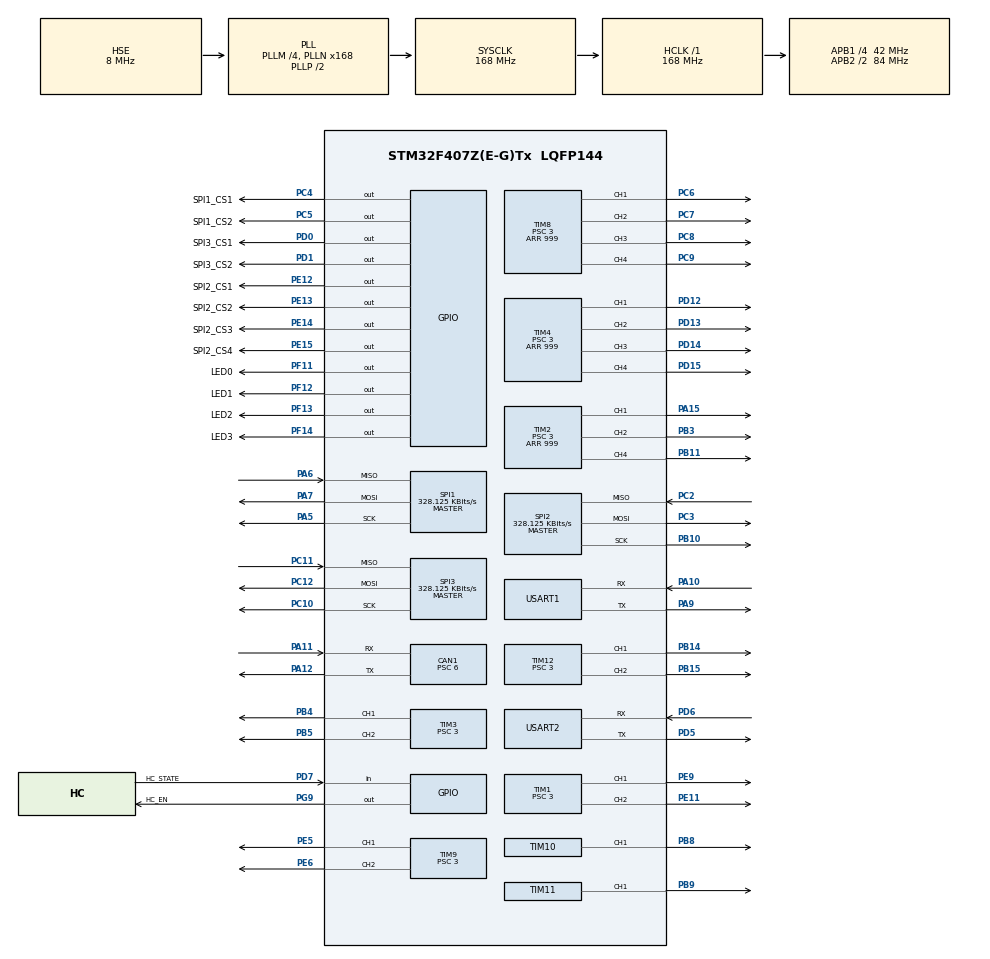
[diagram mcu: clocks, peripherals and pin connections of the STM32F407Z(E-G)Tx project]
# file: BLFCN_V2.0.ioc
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CAN1.BS1=CAN_BS1_5TQ
CAN1.BS2=CAN_BS2_1TQ
CAN1.CalculateBaudRate=1000000
CAN1.CalculateTimeBit=1000
CAN1.CalculateTimeQuantum=142.85714285714286
CAN1.Prescaler=6
Dma.Request0=USART1_RX
Dma.Request1=USART1_TX
Dma.Request2=USART2_RX
Dma.Request3=USART2_TX
Dma.USART1_RX.0.Direction=DMA_PERIPH_TO_MEMORY
Dma.USART1_RX.0.FIFOMode=DMA_FIFOMODE_DISABLE
Dma.USART1_RX.0.Instance=DMA2_Stream2
Dma.USART1_RX.0.MemDataAlignment=DMA_MDATAALIGN_BYTE
Dma.USART1_RX.0.MemInc=DMA_MINC_ENABLE
Dma.USART1_RX.0.Mode=DMA_NORMAL
Dma.USART1_RX.0.PeriphDataAlignment=DMA_PDATAALIGN_BYTE
Dma.USART1_RX.0.PeriphInc=DMA_PINC_DISABLE
Dma.USART1_RX.0.Priority=DMA_PRIORITY_LOW
Dma.USART1_TX.1.Direction=DMA_MEMORY_TO_PERIPH
Dma.USART1_TX.1.FIFOMode=DMA_FIFOMODE_DISABLE
Dma.USART1_TX.1.Instance=DMA2_Stream7
Dma.USART1_TX.1.MemDataAlignment=DMA_MDATAALIGN_BYTE
Dma.USART1_TX.1.MemInc=DMA_MINC_ENABLE
Dma.USART1_TX.1.Mode=DMA_NORMAL
Dma.USART1_TX.1.PeriphDataAlignment=DMA_PDATAALIGN_BYTE
Dma.USART1_TX.1.PeriphInc=DMA_PINC_DISABLE
Dma.USART1_TX.1.Priority=DMA_PRIORITY_LOW
Dma.USART2_RX.2.Direction=DMA_PERIPH_TO_MEMORY
Dma.USART2_RX.2.FIFOMode=DMA_FIFOMODE_DISABLE
Dma.USART2_RX.2.Instance=DMA1_Stream5
Dma.USART2_RX.2.MemDataAlignment=DMA_MDATAALIGN_BYTE
Dma.USART2_RX.2.MemInc=DMA_MINC_ENABLE
Dma.USART2_RX.2.Mode=DMA_CIRCULAR
Dma.USART2_RX.2.PeriphDataAlignment=DMA_PDATAALIGN_BYTE
Dma.USART2_RX.2.PeriphInc=DMA_PINC_DISABLE
Dma.USART2_RX.2.Priority=DMA_PRIORITY_LOW
Dma.USART2_TX.3.Direction=DMA_MEMORY_TO_PERIPH
Dma.USART2_TX.3.FIFOMode=DMA_FIFOMODE_DISABLE
Dma.USART2_TX.3.Instance=DMA1_Stream6
Dma.USART2_TX.3.MemDataAlignment=DMA_MDATAALIGN_BYTE
Dma.USART2_TX.3.MemInc=DMA_MINC_ENABLE
Dma.USART2_TX.3.Mode=DMA_CIRCULAR
Dma.USART2_TX.3.PeriphDataAlignment=DMA_PDATAALIGN_BYTE
Dma.USART2_TX.3.PeriphInc=DMA_PINC_DISABLE
Dma.USART2_TX.3.Priority=DMA_PRIORITY_LOW
FREERTOS.Tasks01=defaultTask,24,128,StartDefaultTask,Default,NULL,Dynamic,NULL,NULL;PID,8,128,StartTask_pid,Default,NULL,Dynamic,NULL,NULL;read,8,128,StartTask_read,Default,NULL,Dynamic,NULL,NULL;send,8,128,StartTask_send,Default,NULL,Dynamic,NULL,NULL
Mcu.Family=STM32F4
Mcu.Name=STM32F407Z(E-G)Tx
Mcu.Package=LQFP144
NVIC.CAN1_RX0_IRQn=true\:5\:0\:false\:false\:true\:true\:true\:true\:true
NVIC.CAN1_RX1_IRQn=true\:5\:0\:false\:false\:true\:true\:true\:true\:true
NVIC.CAN1_TX_IRQn=true\:5\:0\:false\:false\:true\:true\:true\:true\:true
NVIC.DMA1_Stream5_IRQn=true\:5\:0\:false\:false\:true\:true\:false\:true\:true
NVIC.DMA1_Stream6_IRQn=true\:5\:0\:false\:false\:true\:true\:false\:true\:true
NVIC.DMA2_Stream2_IRQn=true\:5\:0\:false\:false\:true\:true\:false\:true\:true
NVIC.DMA2_Stream7_IRQn=true\:5\:0\:false\:false\:true\:true\:false\:true\:true
NVIC.PriorityGroup=NVIC_PRIORITYGROUP_4
NVIC.TIM7_IRQn=true\:15\:0\:false\:false\:true\:false\:false\:true\:true
NVIC.TimeBase=TIM7_IRQn
NVIC.TimeBaseIP=TIM7
NVIC.USART1_IRQn=true\:5\:0\:true\:false\:true\:true\:true\:true\:true
NVIC.USART2_IRQn=true\:5\:0\:true\:false\:true\:true\:true\:true\:true
PA10.Mode=Asynchronous
PA10.Signal=USART1_RX
PA11.Mode=CAN_Activate
PA11.Signal=CAN1_RX
PA12.Mode=CAN_Activate
PA12.Signal=CAN1_TX
PA13.Mode=Serial_Wire
PA13.Signal=SYS_JTMS-SWDIO
PA14.Mode=Serial_Wire
PA14.Signal=SYS_JTCK-SWCLK
PA15.Signal=S_TIM2_CH1_ETR
PA5.Mode=Full_Duplex_Master
PA5.Signal=SPI1_SCK
PA6.Mode=Full_Duplex_Master
PA6.Signal=SPI1_MISO
PA7.Mode=Full_Duplex_Master
PA7.Signal=SPI1_MOSI
PA9.Mode=Asynchronous
PA9.Signal=USART1_TX
PB10.Mode=Full_Duplex_Master
PB10.Signal=SPI2_SCK
PB11.Signal=S_TIM2_CH4
PB14.Signal=S_TIM12_CH1
PB15.Signal=S_TIM12_CH2
PB3.Signal=S_TIM2_CH2
PB4.Signal=S_TIM3_CH1
PB5.Signal=S_TIM3_CH2
PB8.Signal=S_TIM10_CH1
PB9.Signal=S_TIM11_CH1
PC10.Mode=Full_Duplex_Master
PC10.Signal=SPI3_SCK
PC11.Mode=Full_Duplex_Master
PC11.Signal=SPI3_MISO
PC12.Mode=Full_Duplex_Master
PC12.Signal=SPI3_MOSI
PC2.Mode=Full_Duplex_Master
PC2.Signal=SPI2_MISO
PC3.Mode=Full_Duplex_Master
PC3.Signal=SPI2_MOSI
PC4.GPIO_Label=SPI1_CS1
PC4.Signal=GPIO_Output
PC5.GPIO_Label=SPI1_CS2
PC5.Signal=GPIO_Output
PC6.Signal=S_TIM8_CH1
PC7.Signal=S_TIM8_CH2
PC8.Signal=S_TIM8_CH3
PC9.Signal=S_TIM8_CH4
PD0.GPIO_Label=SPI3_CS1
PD0.Signal=GPIO_Output
PD1.GPIO_Label=SPI3_CS2
PD1.Signal=GPIO_Output
PD12.Signal=S_TIM4_CH1
PD13.Signal=S_TIM4_CH2
PD14.Signal=S_TIM4_CH3
PD15.Signal=S_TIM4_CH4
PD5.Mode=Asynchronous
PD5.Signal=USART2_TX
PD6.Mode=Asynchronous
PD6.Signal=USART2_RX
PD7.GPIO_Label=HC_STATE
PD7.Signal=GPIO_Input
PE11.Signal=S_TIM1_CH2
PE12.GPIO_Label=SPI2_CS1
PE12.Signal=GPIO_Output
PE13.GPIO_Label=SPI2_CS2
PE13.Signal=GPIO_Output
PE14.GPIO_Label=SPI2_CS3
PE14.Signal=GPIO_Output
PE15.GPIO_Label=SPI2_CS4
PE15.Signal=GPIO_Output
PE5.Signal=S_TIM9_CH1
PE6.Signal=S_TIM9_CH2
PE9.Signal=S_TIM1_CH1
PF11.GPIO_Label=LED0
PF11.Signal=GPIO_Output
PF12.GPIO_Label=LED1
PF12.Signal=GPIO_Output
PF13.GPIO_Label=LED2
PF13.Signal=GPIO_Output
PF14.GPIO_Label=LED3
PF14.Signal=GPIO_Output
PG9.GPIO_Label=HC_EN
PG9.Signal=GPIO_Output
PH0-OSC_IN.Mode=HSE-External-Oscillator
PH0-OSC_IN.Signal=RCC_OSC_IN
PH1-OSC_OUT.Mode=HSE-External-Oscillator
PH1-OSC_OUT.Signal=RCC_OSC_OUT
ProjectManager.HeapSize=0x400
ProjectManager.StackSize=0x1000
ProjectManager.TargetToolchain=MDK-ARM V5
RCC.48MHZClocksFreq_Value=84000000
RCC.AHBFreq_Value=168000000
RCC.APB1CLKDivider=RCC_HCLK_DIV4
RCC.APB1Freq_Value=42000000
RCC.APB1TimFreq_Value=84000000
RCC.APB2CLKDivider=RCC_HCLK_DIV2
RCC.APB2Freq_Value=84000000
RCC.APB2TimFreq_Value=168000000
RCC.CortexFreq_Value=168000000
RCC.HCLKFreq_Value=168000000
RCC.HSE_VALUE=8000000
RCC.HSI_VALUE=16000000
RCC.LSE_VALUE=32768
RCC.PLLM=4
RCC.PLLN=168
RCC.PLLSourceVirtual=RCC_PLLSOURCE_HSE
RCC.SYSCLKFreq_VALUE=168000000
RCC.SYSCLKSource=RCC_SYSCLKSOURCE_PLLCLK
RCC.VCOOutputFreq_Value=336000000
SH.S_TIM10_CH1.0=TIM10_CH1,PWM Generation1 CH1
SH.S_TIM11_CH1.0=TIM11_CH1,PWM Generation1 CH1
SH.S_TIM12_CH1.0=TIM12_CH1,PWM Generation1 CH1
SH.S_TIM12_CH2.0=TIM12_CH2,PWM Generation2 CH2
SH.S_TIM1_CH1.0=TIM1_CH1,PWM Generation1 CH1
SH.S_TIM1_CH2.0=TIM1_CH2,PWM Generation2 CH2
SH.S_TIM2_CH1_ETR.0=TIM2_CH1,PWM Generation1 CH1
SH.S_TIM2_CH2.0=TIM2_CH2,PWM Generation2 CH2
SH.S_TIM2_CH4.0=TIM2_CH4,PWM Generation4 CH4
SH.S_TIM3_CH1.0=TIM3_CH1,PWM Generation1 CH1
SH.S_TIM3_CH2.0=TIM3_CH2,PWM Generation2 CH2
SH.S_TIM4_CH1.0=TIM4_CH1,PWM Generation1 CH1
SH.S_TIM4_CH2.0=TIM4_CH2,PWM Generation2 CH2
SH.S_TIM4_CH3.0=TIM4_CH3,PWM Generation3 CH3
SH.S_TIM4_CH4.0=TIM4_CH4,PWM Generation4 CH4
SH.S_TIM8_CH1.0=TIM8_CH1,PWM Generation1 CH1
SH.S_TIM8_CH2.0=TIM8_CH2,PWM Generation2 CH2
SH.S_TIM8_CH3.0=TIM8_CH3,PWM Generation3 CH3
SH.S_TIM8_CH4.0=TIM8_CH4,PWM Generation4 CH4
SH.S_TIM9_CH1.0=TIM9_CH1,PWM Generation1 CH1
SH.S_TIM9_CH2.0=TIM9_CH2,PWM Generation2 CH2
SPI1.BaudRatePrescaler=SPI_BAUDRATEPRESCALER_256
SPI1.CLKPhase=SPI_PHASE_2EDGE
SPI1.CalculateBaudRate=328.125 KBits/s
SPI1.DataSize=SPI_DATASIZE_16BIT
SPI1.Direction=SPI_DIRECTION_2LINES
SPI1.Mode=SPI_MODE_MASTER
SPI1.VirtualType=VM_MASTER
SPI2.BaudRatePrescaler=SPI_BAUDRATEPRESCALER_128
SPI2.CLKPhase=SPI_PHASE_2EDGE
SPI2.CalculateBaudRate=328.125 KBits/s
SPI2.DataSize=SPI_DATASIZE_16BIT
SPI2.Direction=SPI_DIRECTION_2LINES
SPI2.Mode=SPI_MODE_MASTER
SPI2.VirtualType=VM_MASTER
SPI3.BaudRatePrescaler=SPI_BAUDRATEPRESCALER_128
SPI3.CLKPhase=SPI_PHASE_2EDGE
SPI3.CalculateBaudRate=328.125 KBits/s
SPI3.DataSize=SPI_DATASIZE_16BIT
SPI3.Direction=SPI_DIRECTION_2LINES
SPI3.Mode=SPI_MODE_MASTER
SPI3.VirtualType=VM_MASTER
TIM1.Channel-PWM\ Generation1\ CH1=TIM_CHANNEL_1
TIM1.Channel-PWM\ Generation2\ CH2=TIM_CHANNEL_2
TIM1.Period=999
TIM1.Prescaler=3
TIM10.Channel=TIM_CHANNEL_1
TIM10.Period=999
TIM10.Prescaler=3
TIM11.Channel=TIM_CHANNEL_1
TIM11.Period=999
TIM11.Prescaler=3
TIM12.Channel-PWM\ Generation1\ CH1=TIM_CHANNEL_1
TIM12.Channel-PWM\ Generation2\ CH2=TIM_CHANNEL_2
TIM12.Period=999
TIM12.Prescaler=3
TIM2.Channel-PWM\ Generation1\ CH1=TIM_CHANNEL_1
TIM2.Channel-PWM\ Generation2\ CH2=TIM_CHANNEL_2
TIM2.Channel-PWM\ Generation3\ CH3=TIM_CHANNEL_3
TIM2.Channel-PWM\ Generation4\ CH4=TIM_CHANNEL_4
TIM2.Period=999
TIM2.Prescaler=3
TIM3.Channel-PWM\ Generation1\ CH1=TIM_CHANNEL_1
TIM3.Channel-PWM\ Generation2\ CH2=TIM_CHANNEL_2
TIM3.Period=999
TIM3.Prescaler=3
TIM4.Channel-PWM\ Generation1\ CH1=TIM_CHANNEL_1
TIM4.Channel-PWM\ Generation2\ CH2=TIM_CHANNEL_2
TIM4.Channel-PWM\ Generation3\ CH3=TIM_CHANNEL_3
TIM4.Channel-PWM\ Generation4\ CH4=TIM_CHANNEL_4
TIM4.Period=999
TIM4.Prescaler=3
TIM8.Channel-PWM\ Generation1\ CH1=TIM_CHANNEL_1
TIM8.Channel-PWM\ Generation2\ CH2=TIM_CHANNEL_2
TIM8.Channel-PWM\ Generation3\ CH3=TIM_CHANNEL_3
TIM8.Channel-PWM\ Generation4\ CH4=TIM_CHANNEL_4
TIM8.Period=999
TIM8.Prescaler=3
TIM9.Channel-PWM\ Generation1\ CH1=TIM_CHANNEL_1
TIM9.Channel-PWM\ Generation2\ CH2=TIM_CHANNEL_2
TIM9.Period=999
TIM9.Prescaler=3
USART1.VirtualMode=VM_ASYNC
USART2.VirtualMode=VM_ASYNC
VP_FREERTOS_VS_CMSIS_V2.Mode=CMSIS_V2
VP_SYS_VS_tim7.Mode=TIM7
VP_TIM10_VS_ClockSourceINT.Mode=Enable_Timer
VP_TIM11_VS_ClockSourceINT.Mode=Enable_Timer
VP_TIM12_VS_ClockSourceINT.Mode=Internal
VP_TIM1_VS_ClockSourceINT.Mode=Internal
VP_TIM2_VS_ClockSourceINT.Mode=Internal
VP_TIM3_VS_ClockSourceINT.Mode=Internal
VP_TIM4_VS_ClockSourceINT.Mode=Internal
VP_TIM8_VS_ClockSourceINT.Mode=Internal
VP_TIM9_VS_ClockSourceINT.Mode=Internal
board=custom

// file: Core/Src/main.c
/* USER CODE BEGIN Header */
/**
  ******************************************************************************
  * @file           : main.c
  * @brief          : Main program body
  ******************************************************************************
  * @attention
  *
  * <h2><center>&copy; Copyright (c) 2023 STMicroelectronics.
  * All rights reserved.</center></h2>
  *
  * This software component is licensed by ST under BSD 3-Clause license,
  * the "License"; You may not use this file except in compliance with the
  * License. You may obtain a copy of the License at:
  *                        opensource.org/licenses/BSD-3-Clause
  *
  ******************************************************************************
  */
/* USER CODE END Header */
#include "main.h"
#include "cmsis_os.h"
#include "can.h"
#include "dma.h"
#include "spi.h"
#include "tim.h"
#include "usart.h"
#include "gpio.h"

/* USER CODE BEGIN Includes */
#include "protocol.h"
#include "spi.h"
#include "hjcMotionControlLib.h"
/* USER CODE END Includes */

/* USER CODE BEGIN PV */
uint16_t pressure[48];
/* USER CODE END PV */

void SystemClock_Config(void);
void MX_FREERTOS_Init(void);
/* USER CODE BEGIN PFP */
#include "stm32f4xx_it.h"
#include "stdio.h"
/* USER CODE END PFP */

/* USER CODE BEGIN 0 */
#define UART_BUF_LENTH 8
#define PI 3.141592
uint8_t UART_RCV_DATA;
// static uint8_t rcvstate = 0x00;
// static uint32_t tempdata = 0;

int fputc(int ch, FILE *f)
{
    uint8_t temp[1]={ch};
    HAL_UART_Transmit(&huart2, temp, 1, HAL_MAX_DELAY);
		HAL_UART_Transmit(&huart1, temp, 1, HAL_MAX_DELAY);
    return ch;
}
extern ctrl_channel ctrl_group[24];
/* USER CODE END 0 */

int main(void)
{

  /* MCU Configuration--------------------------------------------------------*/

  /* Reset of all peripherals, Initializes the Flash interface and the Systick. */
  HAL_Init();

  /* Configure the system clock */
  SystemClock_Config();

  /* Initialize all configured peripherals */
  MX_GPIO_Init();
  MX_DMA_Init();
  MX_CAN1_Init();
  MX_TIM1_Init();
  MX_TIM2_Init();
  MX_TIM3_Init();
  MX_TIM4_Init();
  MX_TIM8_Init();
  MX_TIM9_Init();
  MX_TIM10_Init();
  MX_TIM11_Init();
  MX_TIM12_Init();
  MX_USART1_UART_Init();
  MX_USART2_UART_Init();
  MX_SPI3_Init();
  MX_SPI2_Init();
  MX_SPI1_Init();
  /* USER CODE BEGIN 2 */
	//PWM输出启动
	HAL_TIM_Base_Start(&htim1);
	HAL_TIM_PWM_Start(&htim1, TIM_CHANNEL_1);	//CN7
	HAL_TIM_PWM_Start(&htim1, TIM_CHANNEL_2);	//CN8
	HAL_TIM_PWM_Start(&htim1, TIM_CHANNEL_3);	//CN6
	HAL_TIM_PWM_Start(&htim1, TIM_CHANNEL_4);	//CN5
	HAL_TIM_Base_Start(&htim2);
	HAL_TIM_PWM_Start(&htim2, TIM_CHANNEL_1);	//CN16
	HAL_TIM_PWM_Start(&htim2, TIM_CHANNEL_2);	//CN15
	HAL_TIM_PWM_Start(&htim2, TIM_CHANNEL_3);	//CN9
	HAL_TIM_PWM_Start(&htim2, TIM_CHANNEL_4);	//CN10
	HAL_TIM_Base_Start(&htim3);
	HAL_TIM_PWM_Start(&htim3, TIM_CHANNEL_1);	//CN14
	HAL_TIM_PWM_Start(&htim3, TIM_CHANNEL_2);	//CN13
	HAL_TIM_Base_Start(&htim4);
	HAL_TIM_PWM_Start(&htim4, TIM_CHANNEL_1);	//CN24
	HAL_TIM_PWM_Start(&htim4, TIM_CHANNEL_2);	//CN23
	HAL_TIM_PWM_Start(&htim4, TIM_CHANNEL_3);	//CN22
	HAL_TIM_PWM_Start(&htim4, TIM_CHANNEL_4);	//CN21
	HAL_TIM_Base_Start(&htim8);
	HAL_TIM_PWM_Start(&htim8, TIM_CHANNEL_1);	//CN20
	HAL_TIM_PWM_Start(&htim8, TIM_CHANNEL_2);	//CN19
	HAL_TIM_PWM_Start(&htim8, TIM_CHANNEL_3);	//CN18
	HAL_TIM_PWM_Start(&htim8, TIM_CHANNEL_4);	//CN17
	HAL_TIM_Base_Start(&htim9);
	HAL_TIM_PWM_Start(&htim9, TIM_CHANNEL_1);	//CN3
	HAL_TIM_PWM_Start(&htim9, TIM_CHANNEL_2);	//CN4
	HAL_TIM_Base_Start(&htim10);
	HAL_TIM_PWM_Start(&htim10, TIM_CHANNEL_1);	//CN1
	HAL_TIM_Base_Start(&htim11);
	HAL_TIM_PWM_Start(&htim11, TIM_CHANNEL_1);	//CN2
	HAL_TIM_Base_Start(&htim12);
	HAL_TIM_PWM_Start(&htim12, TIM_CHANNEL_1);	//CN11
	HAL_TIM_PWM_Start(&htim12, TIM_CHANNEL_2);	//CN12
	HAL_UART_Receive_IT(&huart1, &UART_RCV_DATA, 1); //中断串口接收函数
	HAL_UART_Receive_IT(&huart2, &UART_RCV_DATA, 1); //中断串口接收函数
	HAL_GPIO_WritePin(LED0_GPIO_Port,LED0_Pin,GPIO_PIN_SET);
  HAL_GPIO_WritePin(LED1_GPIO_Port,LED1_Pin,GPIO_PIN_SET);
	printf("hardware INIT DONE!\r\n");
	PID_INIT(1);
	Set_all_pressure2(0);
	Angle_Reset();
	printf("pressure INIT DONE!\r\n");
//结束
  /* USER CODE END 2 */

  /* Init scheduler */
  osKernelInitialize();

  /* Call init function for freertos objects (in freertos.c) */
  MX_FREERTOS_Init();

  /* Start scheduler */
  osKernelStart();

  /* We should never get here as control is now taken by the scheduler */
  /* Infinite loop */
  while (1)
  {

    /* USER CODE BEGIN 3 */
    //1
  }
  /* USER CODE END 3 */
}

void SystemClock_Config(void)
{
  RCC_OscInitTypeDef RCC_OscInitStruct = {0};
  RCC_ClkInitTypeDef RCC_ClkInitStruct = {0};

  /** Configure the main internal regulator output voltage
  */
  __HAL_RCC_PWR_CLK_ENABLE();
  __HAL_PWR_VOLTAGESCALING_CONFIG(PWR_REGULATOR_VOLTAGE_SCALE1);

  /** Initializes the RCC Oscillators according to the specified parameters
  * in the RCC_OscInitTypeDef structure.
  */
  RCC_OscInitStruct.OscillatorType = RCC_OSCILLATORTYPE_HSE;
  RCC_OscInitStruct.HSEState = RCC_HSE_ON;
  RCC_OscInitStruct.PLL.PLLState = RCC_PLL_ON;
  RCC_OscInitStruct.PLL.PLLSource = RCC_PLLSOURCE_HSE;
  RCC_OscInitStruct.PLL.PLLM = 4;
  RCC_OscInitStruct.PLL.PLLN = 168;
  RCC_OscInitStruct.PLL.PLLP = RCC_PLLP_DIV2;
  RCC_OscInitStruct.PLL.PLLQ = 4;
  if (HAL_RCC_OscConfig(&RCC_OscInitStruct) != HAL_OK)
  {
    Error_Handler();
  }

  /** Initializes the CPU, AHB and APB buses clocks
  */
  RCC_ClkInitStruct.ClockType = RCC_CLOCKTYPE_HCLK|RCC_CLOCKTYPE_SYSCLK
                              |RCC_CLOCKTYPE_PCLK1|RCC_CLOCKTYPE_PCLK2;
  RCC_ClkInitStruct.SYSCLKSource = RCC_SYSCLKSOURCE_PLLCLK;
  RCC_ClkInitStruct.AHBCLKDivider = RCC_SYSCLK_DIV1;
  RCC_ClkInitStruct.APB1CLKDivider = RCC_HCLK_DIV4;
  RCC_ClkInitStruct.APB2CLKDivider = RCC_HCLK_DIV2;

  if (HAL_RCC_ClockConfig(&RCC_ClkInitStruct, FLASH_LATENCY_5) != HAL_OK)
  {
    Error_Handler();
  }
}

/* USER CODE BEGIN 4 */
//

/* USER CODE END 4 */

void HAL_TIM_PeriodElapsedCallback(TIM_HandleTypeDef *htim)
{
  if (htim->Instance == TIM7) {
    HAL_IncTick();
  }
}

void Error_Handler(void)
{
  __disable_irq();
  while (1)
  {
  }
}

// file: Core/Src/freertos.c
/* USER CODE BEGIN Header */
/**
  ******************************************************************************
  * File Name          : freertos.c
  * Description        : Code for freertos applications
  ******************************************************************************
  * @attention
  *
  * <h2><center>&copy; Copyright (c) 2023 STMicroelectronics.
  * All rights reserved.</center></h2>
  *
  * This software component is licensed by ST under Ultimate Liberty license
  * SLA0044, the "License"; You may not use this file except in compliance with
  * the License. You may obtain a copy of the License at:
  *                             www.st.com/SLA0044
  *
  ******************************************************************************
  */
/* USER CODE END Header */

#include "FreeRTOS.h"
#include "task.h"
#include "main.h"
#include "cmsis_os.h"
#include "spi.h"
/* USER CODE BEGIN Includes */
#include "hjcMotionControlLib.h"
#include "myPID.h"
#include "protocol.h"
extern uint8_t pidstart;
extern int16_t angle[2][4][5];
extern short angle_ReadIndex;
/* USER CODE END Includes */

/* Definitions for defaultTask */
osThreadId_t defaultTaskHandle;
const osThreadAttr_t defaultTask_attributes = {
  .name = "defaultTask",
  .stack_size = 128 * 4,
  .priority = (osPriority_t) osPriorityNormal,
};
/* Definitions for PID */
osThreadId_t PIDHandle;
const osThreadAttr_t PID_attributes = {
  .name = "PID",
  .stack_size = 128 * 4,
  .priority = (osPriority_t) osPriorityLow,
};
/* Definitions for read */
osThreadId_t readHandle;
const osThreadAttr_t read_attributes = {
  .name = "read",
  .stack_size = 128 * 4,
  .priority = (osPriority_t) osPriorityLow,
};
/* Definitions for send */
osThreadId_t sendHandle;
const osThreadAttr_t send_attributes = {
  .name = "send",
  .stack_size = 128 * 4,
  .priority = (osPriority_t) osPriorityLow,
};

void StartDefaultTask(void *argument);
void StartTask_pid(void *argument);
void StartTask_read(void *argument);
void StartTask_send(void *argument);

void MX_FREERTOS_Init(void); /* (MISRA C 2004 rule 8.1) */

void MX_FREERTOS_Init(void) {

  /* Create the thread(s) */
  /* creation of defaultTask */
  defaultTaskHandle = osThreadNew(StartDefaultTask, NULL, &defaultTask_attributes);

  /* creation of PID */
  PIDHandle = osThreadNew(StartTask_pid, NULL, &PID_attributes);

  /* creation of read */
  readHandle = osThreadNew(StartTask_read, NULL, &read_attributes);

  /* creation of send */
  sendHandle = osThreadNew(StartTask_send, NULL, &send_attributes);

}

void StartDefaultTask(void *argument)
{
  /* USER CODE BEGIN StartDefaultTask */
  /* Infinite loop */
  for(;;)
  {
	//printf("001");
	//receiving_process();
    HAL_GPIO_TogglePin(LED0_GPIO_Port, LED0_Pin);
    osDelay(500);

  }
  /* USER CODE END StartDefaultTask */
}

void StartTask_pid(void *argument)
{
  /* USER CODE BEGIN StartTask_pid */
  /* Infinite loop */
  for(;;)
  {
//  //等待�??启信�??
//	pidstart = 1;
//	while(1)
//	{
//		if(pidstart == 1){break;}
//		printf("waitting");
//		osDelay(500);
//	}
//  //�??�??
//	printf("Task2 processing");
//  //回零 初始�??
//	Set_all_pressure2(0);
//	PID_INIT(2);
//  osDelay(1000);
//  //�??始执�??
//  joint_2_MOV_CLOSE_test();

	// CAN TEST
	//	for(short t = 1;t<5;t++)
	//    {
	//		//�?�?=360*100*ratio = 216000
	//		uint16_t tt = t * 12000;
	//		SendShouldAngle(1 , tt , 300);
	//		osDelay(2500);
	//    }
	Angle_Reset();
	while(1)
	{
	printf("A---angle1 = %.3f\t , %.3f\t , %.3f\t , %.3f\t\r\n",
							(float)angle[angle_ReadIndex][0][0]/8192*180,
							(float)angle[angle_ReadIndex][0][1]/8192*180,
							(float)angle[angle_ReadIndex][0][2]/8192*180,
							(float)angle[angle_ReadIndex][0][3]/8192*180);
//							(float)angle[angle_ReadIndex][0][4]/8192*180);
	printf("B---angle2 = %.3f\t , %.3f\t , %.3f\t , %.3f\t\r\n",
							(float)angle[angle_ReadIndex][1][0]/8192*180,
							(float)angle[angle_ReadIndex][1][1]/8192*180,
							(float)angle[angle_ReadIndex][1][2]/8192*180,
							(float)angle[angle_ReadIndex][1][3]/8192*180);
//							(float)angle[angle_ReadIndex][1][4]/8192*180);
//  printf("C---angle3 = %.3f\t , %.3f\t , %.3f\t , %.3f\t , %.3f\t\r\n",
//							(float)angle[angle_ReadIndex][2][0]/8192*180,
//							(float)angle[angle_ReadIndex][2][1]/8192*180,
//							(float)angle[angle_ReadIndex][2][2]/8192*180,
//							(float)angle[angle_ReadIndex][2][3]/8192*180,
//							(float)angle[angle_ReadIndex][2][4]/8192*180);
//  printf("D---angle4 = %.3f\t , %.3f\t , %.3f\t , %.3f \t, %.3f\t\r\n",
//							(float)angle[angle_ReadIndex][3][0]/8192*180,
//							(float)angle[angle_ReadIndex][3][1]/8192*180,
//							(float)angle[angle_ReadIndex][3][2]/8192*180,
//							(float)angle[angle_ReadIndex][3][3]/8192*180,
//							(float)angle[angle_ReadIndex][3][4]/8192*180);
  	osDelay(800);
	}
//int angleCount = 4;
//for (int i = 0; i < angleCount; i++) {
//    printf("***angle%d = %.3f, %.3f, %.3f, %.3f, %.3f\t\r\n",
//           i + 1,
//           (float)angle[angle_ReadIndex][i][0] / 8192 * 180,
//           (float)angle[angle_ReadIndex][i][1] / 8192 * 180,
//           (float)angle[angle_ReadIndex][i][2] / 8192 * 180,
//           (float)angle[angle_ReadIndex][i][3] / 8192 * 180,
//           (float)angle[angle_ReadIndex][i][4] / 8192 * 180);
//}
  }
  /* USER CODE END StartTask_pid */
}

void StartTask_read(void *argument)
{
  /* USER CODE BEGIN StartTask_read */
  /* Infinite loop */
  for(;;)
  {
    Read_B();
    osDelay(10);
	//printf(" Task3 readBing ");
  }
  /* USER CODE END StartTask_read */
}

void StartTask_send(void *argument)
{
  /* USER CODE BEGIN StartTask_send */
  /* Infinite loop */
  for(;;)
  {
     osDelay(500);
	 //printf("Task4 sending");
  }
  /* USER CODE END StartTask_send */
}
